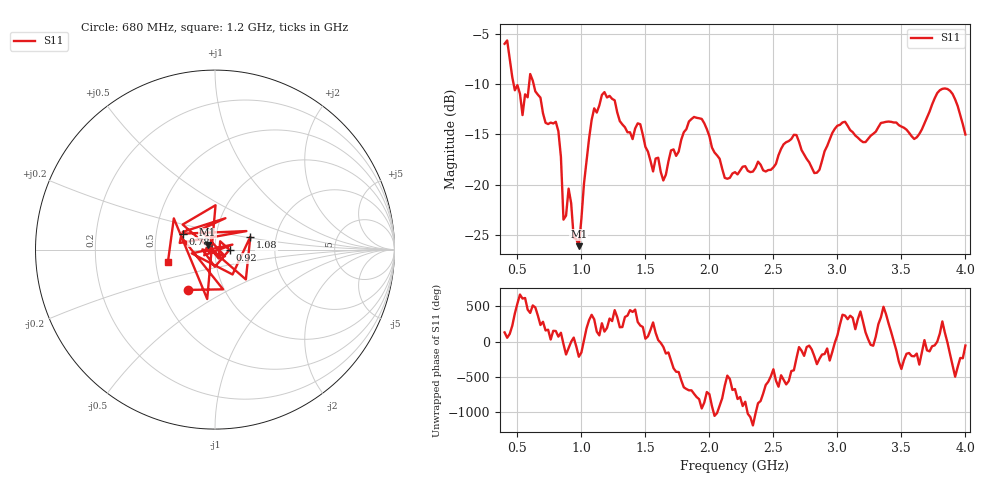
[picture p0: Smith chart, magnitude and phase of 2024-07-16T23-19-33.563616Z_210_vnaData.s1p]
!Created with skrf (http://scikit-rf.org).
# Hz S RI R 50.0
!freq ReS11 ImS11
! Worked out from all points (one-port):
!   181 points, 400 MHz to 4 GHz, reference 50 ohm
!   lowest |S11| = -26.1 dB at 980 MHz (marker M1), VSWR 1.10, Z = 45.9 + j2.48 ohm
!   |S11| at or under -10 dB: 470.2 MHz to 591.5 MHz (121.3 MHz wide, 22.9 % of centre); 626.1 MHz to end of sweep
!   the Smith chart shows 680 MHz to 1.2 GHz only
!   S11 on the Smith chart (normalised r, x): 680 MHz: 0.67, -0.33; 780 MHz: 0.68, +0.13; 920 MHz: 1.18, -0.00; 1.08 GHz: 1.47, +0.22; 1.2 GHz: 0.58, -0.08
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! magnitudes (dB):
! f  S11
! 400 MHz  -6.0
! 540 MHz  -13.1
! 600 MHz  -9.0
! 680 MHz  -11.4
! 780 MHz  -13.9
! 820 MHz  -14.7
! 860 MHz  -23.5
! 900 MHz  -20.4
! 920 MHz  -21.8
! 940 MHz  -25.3
! 980 MHz  -26.1
! 1.08 GHz  -13.6
! 1.2 GHz  -11.3
! 1.3 GHz  -13.7
! 1.46 GHz  -14.0
! 1.64 GHz  -19.6
! 1.76 GHz  -16.7
! 1.94 GHz  -13.5
! 2.12 GHz  -19.3
! 2.2 GHz  -18.8
! 2.48 GHz  -18.5
! 2.66 GHz  -15.1
! 2.82 GHz  -18.8
! 3 GHz  -14.1
! 3.1 GHz  -14.6
! 3.56 GHz  -14.8
! 3.84 GHz  -10.5
! 4 GHz  -15.0
